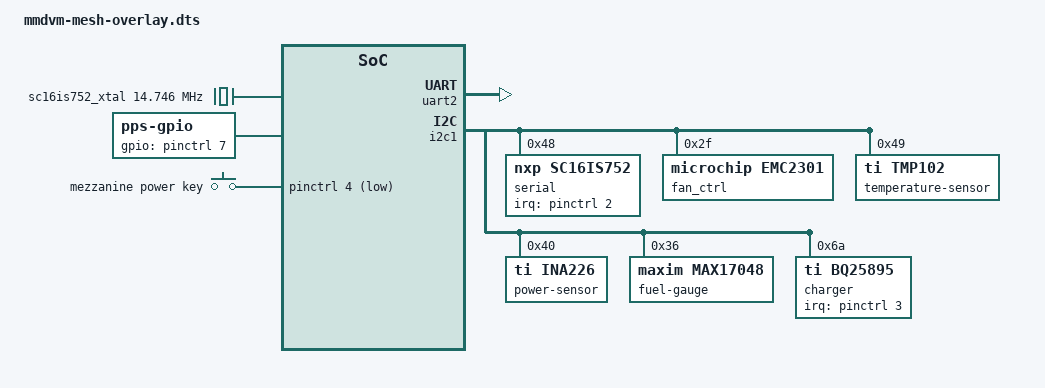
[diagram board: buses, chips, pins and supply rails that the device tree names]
// SPDX-License-Identifier: (GPL-2.0+ OR MIT)
/*
 * Device-tree overlay: r3.0-study mezzanine (MMDVM + Meshtastic + GPS + 1S4P)
 * on a uCRobotics Bubblegum-96 (Actions S900).
 *
 * STATUS: NEVER COMPILED, NEVER BOOTED. No dtc was available where this file
 * was written and the board does not exist yet. Treat every node as a draft.
 *
 * Base tree: mainline arch/arm64/boot/dts/actions/s900-bubblegum-96.dts
 * (+ s900.dtsi). Labels used from the base tree: uart2, i2c1, pinctrl.
 *
 * Why an overlay, and how to use it
 * ---------------------------------
 * The file uses only label references (&uart2, &i2c1, &pinctrl) and path
 * references (&{/}, &{/aliases}), so the same text works in two ways:
 *
 *  1. As an overlay (default). The base DTB must be built with symbols
 *     (make DTC_FLAGS=-@ dtbs). Then either
 *       - merge at build time (no boot-loader support needed):
 *           fdtoverlay -i s900-bubblegum-96.dtb -o merged.dtb mmdvm-mesh.dtbo
 *       - or let U-Boot apply it (fdt apply), if the boot chain in use
 *         supports that. The boot chain of the user's image is not known.
 *     See build-dtbo.sh next to this file.
 *
 *  2. Included into the board file of a self-maintained kernel tree:
 *       #define MMDVM_MESH_STATIC
 *       #include "mmdvm-mesh-overlay.dts"
 *     appended at the end of s900-bubblegum-96.dts.
 *
 * The mainline kernel has no run-time overlay loader for this platform
 * (no configfs interface), and owl-uart takes its line number from
 * /aliases at boot, so the overlay has to be applied before the kernel
 * starts in either case.
 *
 * Host pin map (verified against two sources, see README "Sources"):
 *
 *   LS pin  96Boards   S900 pad   pinctrl line  mezzanine net / use
 *   5       UART0_TxD  GPIOB15    (uart2 tx)    -> U21 -> STM32 USART1 RX
 *   7       UART0_RxD  GPIOB14    (uart2 rx)    <- U20 <- STM32 USART1 TX
 *   11/13   UART1      GPIOA27/25 (uart5)       console, already enabled
 *   15/17   I2C0       GPIOB22/23 (i2c1)        TCA9406 -> 3.3 V always-on bus
 *   23      GPIO-A     GPIOA0     0             out: STM32 BOOT0 (U22)
 *   24      GPIO-B     GPIOA1     1             out: STM32 NRST, low = reset (U23)
 *   25      GPIO-C     GPIOA2     2             in:  SC16IS752 IRQ, active low
 *   26      GPIO-D     GPIOA3     3             in:  BQ25895 INT + MAX17048 ALRT, active low
 *   27      GPIO-E     GPIOA4     4             in:  STM6601 INT (power key), active low
 *   28      GPIO-F     GPIOA5     5             out: power hold, only with JP2 2-3
 *   29      GPIO-G     GPIOA6     6             out: RAK4630 reset, low = reset (U26)
 *   30      GPIO-H     GPIOA7     7             in:  GPS PPS (U27)
 *   31      GPIO-I     GPIOA8     8             in:  GPS slide switch state (U28)
 *   32      GPIO-J     GPIOA9     9             in:  EMC2301 ALERT, active low
 *   33/34   GPIO-K/L   GPIOE27/26 133 / 132     not connected on the mezzanine
 *
 * Sources: hardware manual V1.1 section 5 (LS connector table) and the
 * gpio-line-names table in mainline s900-bubblegum-96.dts. Both agree.
 *
 * gpio-line-names: mainline already names lines 0..9 "GPIO-A".."GPIO-J" (and
 * 133/132 "GPIO-K"/"GPIO-L"). An overlay can only replace the whole
 * 146-entry property, so it is deliberately not repeated here. Use the
 * 96Boards names with libgpiod (gpiofind GPIO-G) and the table above.
 *
 * GPIO-A, -B and -G are left to user space (gpio/mmdvm-gpio.sh, stm32flash).
 * They are NOT hogged here because a hog would block stm32flash.
 */

#ifndef MMDVM_MESH_STATIC
/dts-v1/;
/plugin/;
#endif

#include <dt-bindings/gpio/gpio.h>
#include <dt-bindings/input/input.h>
#include <dt-bindings/interrupt-controller/irq.h>

&{/aliases} {
	/*
	 * owl-uart refuses to probe without a serialN alias
	 * (drivers/tty/serial/owl-uart.c: of_alias_get_id). uart2 -> ttyOWL2.
	 */
	serial2 = "/soc/serial@e0124000";
};

&{/} {
	/*
	 * Y2, 14.7456 MHz crystal on the SC16IS752 (XTAL1/XTAL2).
	 * Binding: Documentation/devicetree/bindings/clock/fixed-clock.yaml
	 */
	sc16is752_xtal: clock-14745600 {
		compatible = "fixed-clock";
		#clock-cells = <0>;
		clock-frequency = <14745600>;
	};

	/*
	 * GPS time pulse (MAX-M10S TIMEPULSE -> U27 -> GPIO-H), rising edge.
	 * Binding: Documentation/devicetree/bindings/pps/pps-gpio.yaml
	 */
	pps {
		compatible = "pps-gpio";
		gpios = <&pinctrl 7 GPIO_ACTIVE_HIGH>;
	};

	/*
	 * Power key of the mezzanine: STM6601 INT pulses low (20..44 ms,
	 * data sheet tINT_Min) on a short push while the host is running.
	 * Reported as KEY_POWER so systemd-logind starts a normal shutdown.
	 * Binding: Documentation/devicetree/bindings/input/gpio-keys.yaml
	 * Not in the study's software list (section 8); it implements the
	 * "GPIO-E: power key INT (shutdown request)" row of section 3.4.
	 * The S900 GPIO block has no both-edge interrupt; pinctrl-owl emulates
	 * it. Whether a 20 ms pulse is caught reliably is untested.
	 */
	gpio-keys {
		compatible = "gpio-keys";

		key-power {
			label = "mezzanine power key";
			linux,code = <KEY_POWER>;
			gpios = <&pinctrl 4 GPIO_ACTIVE_LOW>;
			debounce-interval = <5>;
		};
	};

	/*
	 * Fallback power-off path (study section 2.2 / 3.4 / 16.10).
	 * Binding: Documentation/devicetree/bindings/power/reset/gpio-poweroff.yaml
	 *
	 * DISABLED by default, because the board default is JP2 1-2: the
	 * STM6601 PS_HOLD input follows the host +1V8 rail and GPIO-F is not
	 * connected to anything. Enable this node only after moving JP2 to 2-3.
	 *
	 * With JP2 2-3: GPIO-F high = hold power, low = power off (U29 -> PS_HOLD).
	 * GPIO_ACTIVE_LOW makes the driver drive the line high at probe
	 * (inactive) and low at power-off (active).
	 *
	 * Open problems with JP2 2-3 (all untested):
	 *  - PS_HOLD must be high when the STM6601 tON_BLANK ends (5.6 s min
	 *    after the power key). The kernel will not probe this driver that
	 *    early; the boot loader has to drive GPIO-F high first, or the
	 *    start-up assist C142/R124 (not fitted) has to be populated.
	 *  - If the kernel in use already has a working PMIC power-off handler,
	 *    two handlers are registered; the order depends on "priority".
	 *
	 * active-delay-ms is long so that the supply is gone before the driver
	 * toggles the line back (it pulses active -> inactive -> active).
	 */
	gpio-poweroff {
		compatible = "gpio-poweroff";
		gpios = <&pinctrl 5 GPIO_ACTIVE_LOW>;
		active-delay-ms = <2000>;
		timeout-ms = <3000>;
		status = "disabled";
	};
};

/*
 * LS UART0 = S900 UART2 -> STM32 USART1 (MMDVM_HS host link, 115200 8N1),
 * also the STM32 ROM boot-loader port for stm32flash (8E1).
 * Binding: Documentation/devicetree/bindings/serial/actions,owl-uart.yaml
 *
 * No pinctrl entry: pinctrl-s900.c lists the uart2_rx / uart2_tx pads only in
 * the "uart2_dummy" group (no mux register), like i2c1 in the base tree.
 * TODO(verify on hardware): that these pads really come up as UART2 without
 * any pinmux setting. RTS/CTS (LS pins 9/3) are not connected on the board.
 */
&uart2 {
	status = "okay";
};

/*
 * LS I2C0 = S900 I2C1 (already "okay" in the base tree, 2.2 k pull-ups to
 * 1.8 V on the Bubblegum-96). On the mezzanine U34 (TCA9406) translates it to
 * the 3.3 V always-on bus SDA_AON / SCL_AON. Every device below sits on that
 * bus and is powered from +3V3_MESH (always on), so it answers whenever the
 * host is up. The nRF52840 is NOT on this bus (its I2C only goes to the
 * front-panel OLED), so there is no second master.
 *
 * Addresses are taken from hardware/r3.0-study/gen/r30_parts.py and
 * r30_parts2.py.
 */
&i2c1 {
	/*
	 * U35 SC16IS752, A0 = A1 = VDD -> 0x48.
	 *   channel A (ttySC0): RAK4630 serial module, P0.19 / P0.20, 115200
	 *   channel B (ttySC1): GPS NMEA, receive only (TXB is not connected)
	 * IRQ: open drain through U30 to GPIO-C, 10 k pull-up to 1.8 V.
	 * RESET is RC only (no host GPIO). The 8 GPIO pins are unconnected, so no
	 * gpio-controller.
	 * Binding: Documentation/devicetree/bindings/serial/nxp,sc16is7xx.yaml
	 * ttySC0/ttySC1 assume this is the only sc16is7xx in the system.
	 */
	serial@48 {
		compatible = "nxp,sc16is752";
		reg = <0x48>;
		clocks = <&sc16is752_xtal>;
		interrupt-parent = <&pinctrl>;
		interrupts = <2 IRQ_TYPE_LEVEL_LOW>;
	};

	/*
	 * U36 EMC2301-1 fan controller, 0x2f. (The study text still says
	 * AMC6821; the schematic and the BOM have EMC2301 + TMP102.)
	 * Binding: Documentation/devicetree/bindings/hwmon/microchip,emc2305.yaml
	 * pwms cells: frequency (Hz), polarity (0 = normal), output (1 = push-pull).
	 * Push-pull is required: the PWM pin drives the gate of Q20 (AO3400A)
	 * with only a 100 k pull-down (R55); the chip default is open drain,
	 * which would never turn the fan on.
	 * TODO(verify): 26 kHz low-side switching of a 3-wire fan; the tach
	 * signal may be unusable below 100 % duty.
	 */
	fan_ctrl: fan-controller@2f {
		compatible = "microchip,emc2301", "microchip,emc2305";
		reg = <0x2f>;
		#address-cells = <1>;
		#size-cells = <0>;
		#pwm-cells = <3>;

		fan@0 {
			reg = <0x0>;
			pwms = <&fan_ctrl 26000 0 1>;
			#cooling-cells = <2>;
		};
	};

	/*
	 * U37 TMP102, ADD0 = V+ -> 0x49. Air temperature at the outlet of the
	 * SoC column (not the SoC die temperature). ALERT is not connected.
	 * Binding: Documentation/devicetree/bindings/hwmon/ti,tmp102.yaml
	 */
	temperature-sensor@49 {
		compatible = "ti,tmp102";
		reg = <0x49>;
	};

	/*
	 * U105 INA226, A0 = A1 = GND -> 0x40. 10 mOhm shunt (R115) in the 12 V
	 * feed to SYS_DCIN: host input power. ALERT is not connected.
	 * Binding: Documentation/devicetree/bindings/hwmon/ti,ina2xx.yaml
	 */
	power-sensor@40 {
		compatible = "ti,ina226";
		reg = <0x40>;
		shunt-resistor = <10000>;	/* micro-ohm */
	};

	/*
	 * U103 MAX17048 fuel gauge, 0x36.
	 * Binding: Documentation/devicetree/bindings/power/supply/maxim,max17040.yaml
	 * No "interrupts": ALRT shares the PWR_INT_N line (GPIO-D) with the
	 * charger and neither max17040_battery.c nor bq25890_charger.c
	 * requests its interrupt with IRQF_SHARED. The charger binding makes
	 * "interrupts" mandatory, so the charger gets the line. The gauge is
	 * polled; its low-SOC alert is not used.
	 */
	fuel-gauge@36 {
		compatible = "maxim,max17048";
		reg = <0x36>;
	};

	/*
	 * U101 BQ25895 charger, 0x6a. INT is open drain (R106 to +3V3_MESH)
	 * through U31 to GPIO-D, 10 k pull-up to 1.8 V.
	 * Binding: Documentation/devicetree/bindings/power/supply/bq25890.yaml
	 *
	 * The values are a starting point, not a validated charge profile:
	 *  - 4.208 V / cell group (chip default). The study suggests 4.1 V for
	 *    permanent mains operation (section 4.5).
	 *  - 3.008 A for the 4P pack = 0.75 A per cell. TODO(user): set for the
	 *    cells actually fitted and the measured holder temperature rise.
	 *  - termination 256 mA, pre-charge 256 mA, minimum system 3.5 V.
	 *  - boost (OTG) values are mandatory in the binding but unused: the
	 *    USB-C port is sink only.
	 *  - ti,use-ilim-pin: keep it. The ILIM pin sets the hardware input limit for an unknown adapter: about
	 *    1.37 A typ / 1.50 A max with VBUS at 9 V and 0.45 A typ / 0.49 A max at 5 V (R102, R128, Q105);
	 *    without this property the driver clears EN_ILIM and the register limit (3.25 A for a DCP) applies.
	 * Note: the driver disables the chip's I2C watchdog, so these settings
	 * stay in force after the host shuts down (the chip stays powered).
	 */
	charger@6a {
		compatible = "ti,bq25895", "ti,bq25890";
		reg = <0x6a>;
		interrupt-parent = <&pinctrl>;
		interrupts = <3 IRQ_TYPE_EDGE_FALLING>;

		ti,battery-regulation-voltage = <4208000>;
		ti,charge-current = <3008000>;
		ti,termination-current = <256000>;
		ti,precharge-current = <256000>;
		ti,minimum-sys-voltage = <3500000>;
		ti,boost-voltage = <4998000>;
		ti,boost-max-current = <500000>;
		ti,use-ilim-pin;
	};
};
